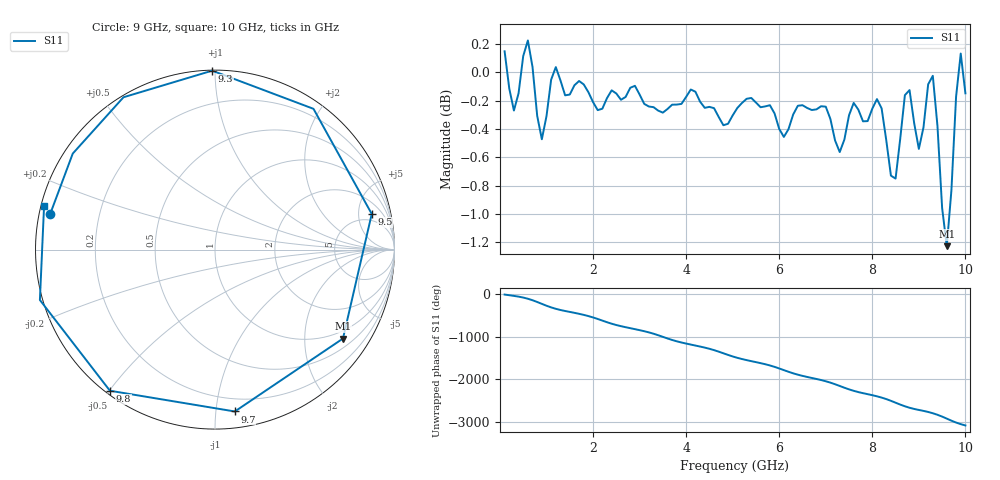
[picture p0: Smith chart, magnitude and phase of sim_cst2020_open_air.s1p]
! Created with skrf 1.12.0 (http://scikit-rf.org).
# Hz S RI R 50.0
!freq ReS11 ImS11
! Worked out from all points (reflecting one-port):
!   100 points, 100 MHz to 10 GHz, reference 50 ohm
!   lowest |S11| = -1.2 dB at 9.6 GHz (marker M1), VSWR 14.18, Z = 37.5 - j151 ohm
!   phase of S11 starts at -17 deg and turns -3058 deg over the sweep
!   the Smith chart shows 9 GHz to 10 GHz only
!   S11 on the Smith chart (normalised r, x): 9 GHz: 0.03, +0.11; 9.3 GHz: 0.00, +0.98; 9.5 GHz: 3.57, +7.16; 9.7 GHz: 0.11, -1.12; 9.8 GHz: 0.01, -0.50; 10 GHz: 0.01, +0.13
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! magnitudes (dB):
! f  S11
! 100 MHz  0.1
! 300 MHz  -0.3
! 600 MHz  0.2
! 900 MHz  -0.5
! 1.2 GHz  0.0
! 1.4 GHz  -0.2
! 2.6 GHz  -0.2
! 3.9 GHz  -0.2
! 5.1 GHz  -0.3
! 5.8 GHz  -0.2
! 6.1 GHz  -0.5
! 6.3 GHz  -0.3
! 7 GHz  -0.2
! 7.3 GHz  -0.6
! 7.6 GHz  -0.2
! 7.9 GHz  -0.3
! 8.1 GHz  -0.2
! 8.5 GHz  -0.8
! 8.7 GHz  -0.2
! 8.8 GHz  -0.1
! 9 GHz  -0.5
! 9.3 GHz  0.0
! 9.5 GHz  -1.0
! 9.6 GHz  -1.2
! 9.7 GHz  -0.8
! 9.8 GHz  -0.2
! 9.9 GHz  0.1
! 10 GHz  -0.1
